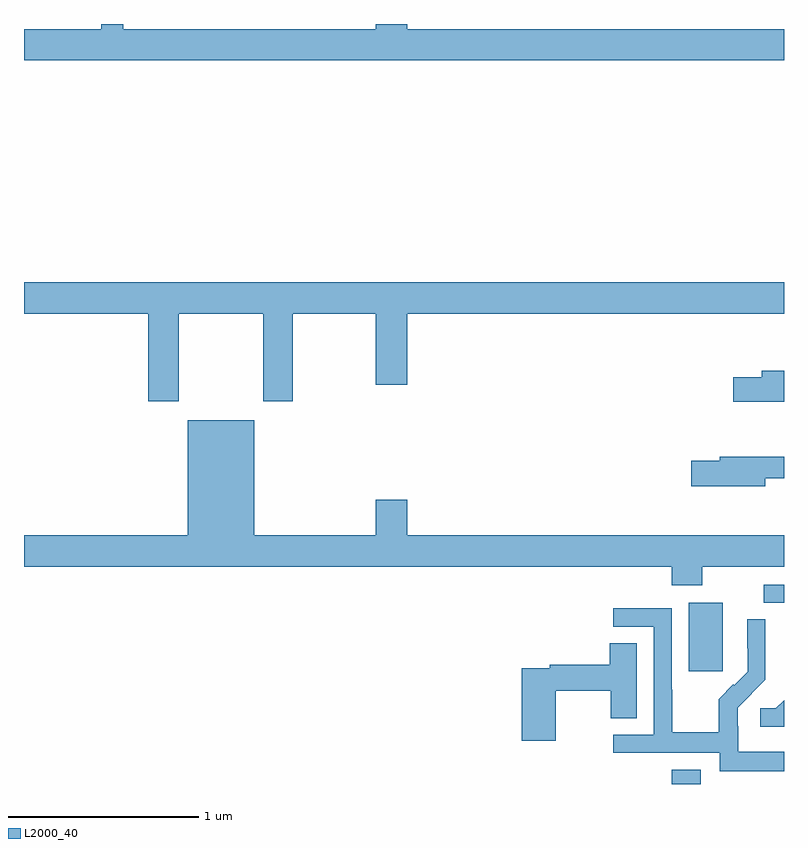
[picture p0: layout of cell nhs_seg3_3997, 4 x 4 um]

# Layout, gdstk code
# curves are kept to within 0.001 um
import gdstk
lib = gdstk.Library(unit=1e-6, precision=1e-09)
def R(c, l, rs):  # rectangles x0, y0, x1, y1
    for r in rs: c.add(gdstk.rectangle(r[:2], r[2:], *l))
def P(c, l, *ps):  # polygons
    for p in ps: c.add(gdstk.Polygon(p, *l))
L2000_40 = (2000, 40)

nhs_seg3_3997 = lib.new_cell('nhs_seg3_3997')
R(nhs_seg3_3997, L2000_40, [(322.409,738.4,322.561,738.475), (322.499,738.993,322.678,739.354), (322.893,739.353,323,739.449)])
P(nhs_seg3_3997, L2000_40, [(323,742.372),(321.016,742.372),(321.016,742.4),(320.852,742.4),(320.852,742.372),(319.523,742.372),(319.523,742.4),(319.407,742.4),(319.407,742.372),(319,742.372),(319,742.208),(323,742.208)],
  [(319.815,740.876),(320.26,740.876),(320.26,740.415),(320.415,740.415),(320.415,740.876),(320.852,740.876),(320.852,740.502),(321.016,740.502),(321.016,740.876),(323,740.876),(323,741.04),(319,741.04),(319,740.876),(319.655,740.876),(319.655,740.415),(319.815,740.415)],
  [(323,740.575),(322.883,740.575),(322.883,740.541),(322.734,740.541),(322.734,740.411),(323,740.411)],
  [(322.569,739.544),(323,739.544),(323,739.708),(321.016,739.708),(321.016,739.897),(320.852,739.897),(320.852,739.708),(320.212,739.708),(320.212,740.314),(319.862,740.314),(319.862,739.708),(319,739.708),(319,739.544),(322.409,739.544),(322.409,739.445),(322.569,739.445)],
  [(322.9,740.01),(323,740.01),(323,740.123),(322.661,740.123),(322.661,740.102),(322.512,740.102),(322.512,739.967),(322.9,739.967)],
  [(323,738.571),(322.758,738.571),(322.758,738.705),(322.756,738.705),(322.756,738.802),(322.902,738.95),(322.902,739.268),(322.806,739.268),(322.806,739.114),(322.808,739.114),(322.808,738.992),(322.737,738.921),(322.734,738.924),(322.657,738.847),(322.657,738.673),(322.413,738.673),(322.413,738.896),(322.41,738.896),(322.41,739.326),(322.101,739.326),(322.101,739.227),(322.314,739.227),(322.314,738.66),(322.101,738.66),(322.101,738.564),(322.662,738.564),(322.662,738.467),(323,738.467)],
  [(321.798,738.892),(322.087,738.892),(322.087,738.745),(322.225,738.745),(322.225,739.142),(322.082,739.142),(322.082,739.028),(321.766,739.028),(321.766,739.008),(321.62,739.008),(321.62,738.627),(321.798,738.627)],
  [(323,738.842),(322.956,738.798),(322.875,738.798),(322.875,738.701),(323,738.701)])

lib.write_gds('nhs_seg3_3997.gds')
